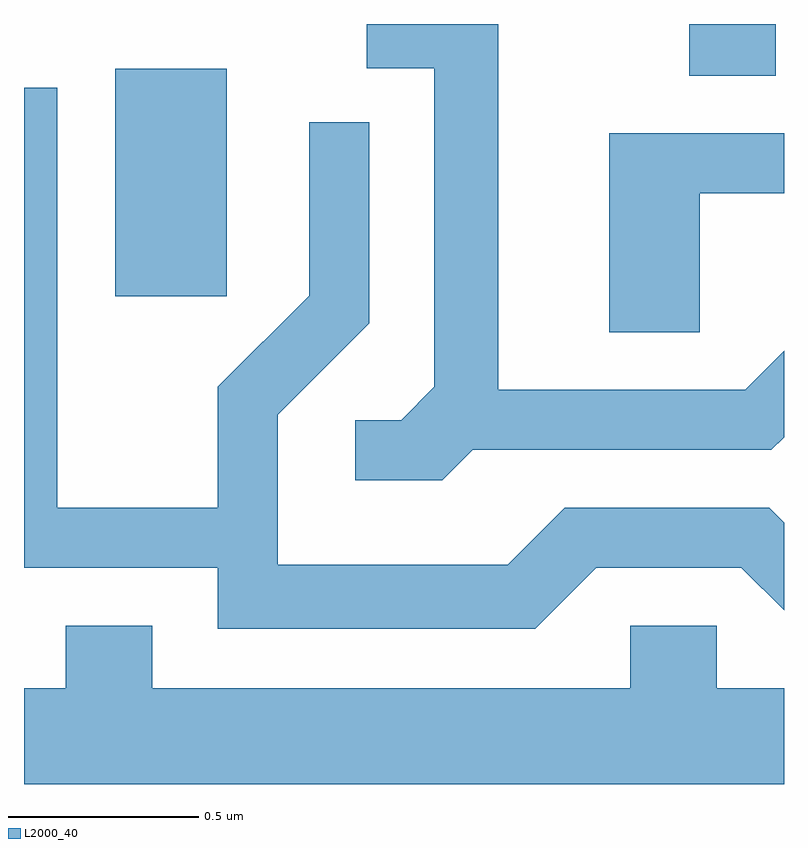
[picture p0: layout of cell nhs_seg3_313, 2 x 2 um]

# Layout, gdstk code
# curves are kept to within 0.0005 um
import gdstk
lib = gdstk.Library(unit=1e-6, precision=1e-09)
def R(c, l, rs):  # rectangles x0, y0, x1, y1
    for r in rs: c.add(gdstk.rectangle(r[:2], r[2:], *l))
def P(c, l, *ps):  # polygons
    for p in ps: c.add(gdstk.Polygon(p, *l))
L2000_40 = (2000, 40)

nhs_seg3_313 = lib.new_cell('nhs_seg3_313')
R(nhs_seg3_313, L2000_40, [(187.851,1156.176,188.144,1156.774), (189.361,1156.756,189.589,1156.892)])
P(nhs_seg3_313, L2000_40, [(188.792,1155.771),(189.577,1155.771),(189.611,1155.805),(189.611,1156.032),(189.509,1155.929),(188.859,1155.929),(188.859,1156.892),(188.513,1156.892),(188.513,1156.776),(188.691,1156.776),(188.691,1155.937),(188.604,1155.849),(188.483,1155.849),(188.483,1155.691),(188.712,1155.691)],
  [(189.117,1155.461),(189.499,1155.461),(189.611,1155.349),(189.611,1155.58),(189.572,1155.619),(189.034,1155.619),(188.884,1155.469),(188.279,1155.469),(188.279,1155.864),(188.519,1156.104),(188.519,1156.633),(188.361,1156.633),(188.361,1156.177),(188.121,1155.937),(188.121,1155.619),(187.699,1155.619),(187.699,1156.724),(187.611,1156.724),(187.611,1155.461),(188.121,1155.461),(188.121,1155.301),(188.957,1155.301)],
  [(189.389,1156.446),(189.611,1156.446),(189.611,1156.604),(189.151,1156.604),(189.151,1156.081),(189.389,1156.081)],
  [(189.611,1155.144),(189.434,1155.144),(189.434,1155.309),(189.206,1155.309),(189.206,1155.144),(187.949,1155.144),(187.949,1155.309),(187.721,1155.309),(187.721,1155.144),(187.611,1155.144),(187.611,1154.892),(189.611,1154.892)])

lib.write_gds('nhs_seg3_313.gds')
